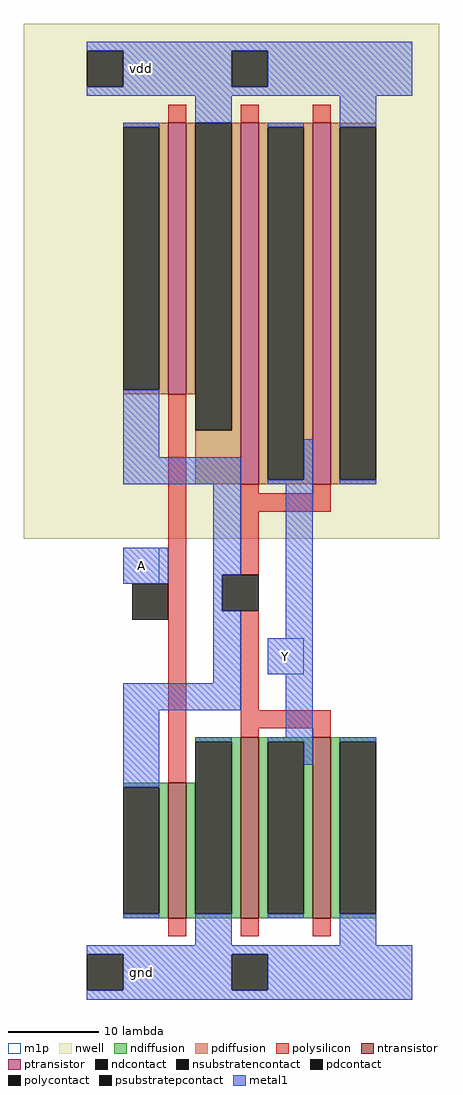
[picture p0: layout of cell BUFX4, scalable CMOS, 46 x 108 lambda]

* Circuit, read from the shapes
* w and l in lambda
.subckt BUFX4 A Y vdd gnd
M1 gnd A n1 gnd nfet w=15 l=2
M2 Y n1 gnd gnd nfet w=20 l=2 m=2
M3 vdd A n1 vdd pfet w=30 l=2
M4 Y n1 vdd vdd pfet w=40 l=2 m=2
.ends

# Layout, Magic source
magic
tech scmos
magscale 1 2
<< nwell >>
rect -18 96 74 210
<< ntransistor >>
rect 14 12 18 42
rect 30 12 34 52
rect 46 12 50 52
<< ptransistor >>
rect 14 128 18 188
rect 30 108 34 188
rect 46 108 50 188
<< ndiffusion >>
rect 20 51 30 52
rect 4 41 14 42
rect 12 13 14 41
rect 4 12 14 13
rect 18 13 20 42
rect 28 13 30 51
rect 18 12 30 13
rect 34 51 46 52
rect 34 13 36 51
rect 44 13 46 51
rect 34 12 46 13
rect 50 51 60 52
rect 50 13 52 51
rect 50 12 60 13
<< pdiffusion >>
rect 4 187 14 188
rect 12 129 14 187
rect 4 128 14 129
rect 18 128 20 188
rect 28 120 30 188
rect 20 108 30 120
rect 34 187 46 188
rect 34 109 36 187
rect 44 109 46 187
rect 34 108 46 109
rect 50 187 60 188
rect 50 109 52 187
rect 50 108 60 109
<< ndcontact >>
rect 4 13 12 41
rect 20 13 28 51
rect 36 13 44 51
rect 52 13 60 51
<< pdcontact >>
rect 4 129 12 187
rect 20 120 28 188
rect 36 109 44 187
rect 52 109 60 187
<< psubstratepcontact >>
rect -4 -4 4 4
rect 28 -4 36 4
<< nsubstratencontact >>
rect -4 196 4 204
rect 28 196 36 204
<< polysilicon >>
rect 14 188 18 192
rect 30 188 34 192
rect 46 188 50 192
rect 14 42 18 128
rect 30 106 34 108
rect 46 106 50 108
rect 30 102 50 106
rect 30 88 34 102
rect 30 58 34 80
rect 30 54 50 58
rect 30 52 34 54
rect 46 52 50 54
rect 14 8 18 12
rect 30 8 34 12
rect 46 8 50 12
<< polycontact >>
rect 6 78 14 86
rect 26 80 34 88
<< metal1 >>
rect -4 204 68 206
rect 4 196 28 204
rect 36 196 68 204
rect -4 194 68 196
rect 20 188 28 194
rect 4 187 12 188
rect 4 114 12 129
rect 36 187 44 188
rect 4 108 30 114
rect 52 187 60 194
rect 44 109 46 118
rect 36 108 46 109
rect 52 108 60 109
rect 4 86 14 94
rect 24 88 30 108
rect 24 80 26 88
rect 24 64 30 80
rect 40 74 46 108
rect 36 66 46 74
rect 4 58 30 64
rect 4 41 12 58
rect 40 52 46 66
rect 4 12 12 13
rect 20 51 28 52
rect 20 6 28 13
rect 36 51 46 52
rect 44 46 46 51
rect 52 51 60 52
rect 36 12 44 13
rect 52 6 60 13
rect -4 4 68 6
rect 4 -4 28 4
rect 36 -4 68 4
rect -4 -6 68 -4
<< m1p >>
rect 4 86 12 94
rect 36 66 44 74
<< labels >>
rlabel metal1 8 200 8 200 4 vdd
port 3 se
rlabel metal1 8 0 8 0 4 gnd
port 4 se
rlabel metal1 8 90 8 90 4 A
port 1 se
rlabel metal1 40 70 40 70 4 Y
port 2 se
<< end >>
